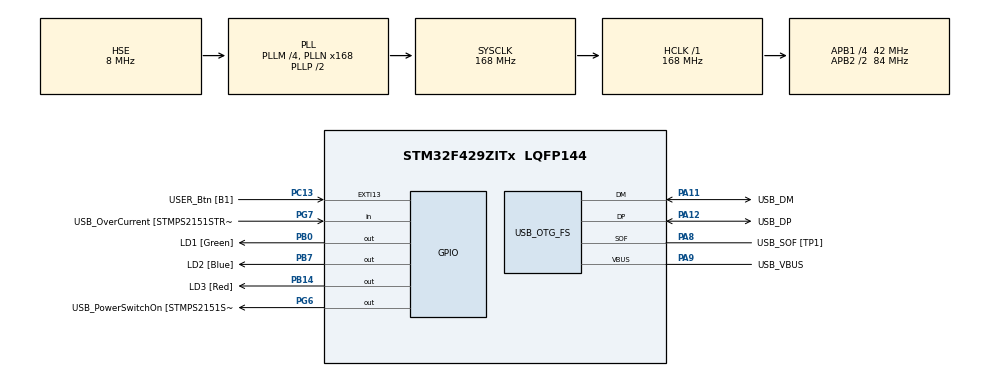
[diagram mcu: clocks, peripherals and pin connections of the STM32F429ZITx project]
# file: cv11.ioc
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Mcu.Family=STM32F4
Mcu.Name=STM32F429ZITx
Mcu.Package=LQFP144
NVIC.OTG_FS_IRQn=true\:0\:0\:false\:false\:true\:false\:true\:true
NVIC.PriorityGroup=NVIC_PRIORITYGROUP_4
PA1.GPIO_Label=RMII_REF_CLK [LAN8742A-CZ-TR_REFCLK0]
PA1.Signal=ETH_REF_CLK
PA10.GPIO_Label=USB_ID
PA10.Signal=USB_OTG_FS_ID
PA11.GPIO_Label=USB_DM
PA11.Mode=Device_Only
PA11.Signal=USB_OTG_FS_DM
PA12.GPIO_Label=USB_DP
PA12.Mode=Device_Only
PA12.Signal=USB_OTG_FS_DP
PA13.GPIO_Label=TMS
PA13.Mode=Serial_Wire
PA13.Signal=SYS_JTMS-SWDIO
PA14.GPIO_Label=TCK
PA14.Mode=Serial_Wire
PA14.Signal=SYS_JTCK-SWCLK
PA2.GPIO_Label=RMII_MDIO [LAN8742A-CZ-TR_MDIO]
PA2.Signal=ETH_MDIO
PA7.GPIO_Label=RMII_CRS_DV [LAN8742A-CZ-TR_CRS_DV]
PA7.Signal=ETH_CRS_DV
PA8.GPIO_Label=USB_SOF [TP1]
PA8.Mode=Activate_SOF_FS
PA8.Signal=USB_OTG_FS_SOF
PA9.GPIO_Label=USB_VBUS
PA9.Mode=Activate_VBUS
PA9.Signal=USB_OTG_FS_VBUS
PB0.GPIO_Label=LD1 [Green]
PB0.Signal=GPIO_Output
PB13.GPIO_Label=RMII_TXD1 [LAN8742A-CZ-TR_TXD1]
PB13.Signal=ETH_TXD1
PB14.GPIO_Label=LD3 [Red]
PB14.Signal=GPIO_Output
PB7.GPIO_Label=LD2 [Blue]
PB7.Signal=GPIO_Output
PC1.GPIO_Label=RMII_MDC [LAN8742A-CZ-TR_MDC]
PC1.Signal=ETH_MDC
PC13.GPIO_Label=USER_Btn [B1]
PC13.Signal=GPXTI13
PC14/OSC32_IN.Mode=LSE-External-Oscillator
PC14/OSC32_IN.Signal=RCC_OSC32_IN
PC15/OSC32_OUT.Mode=LSE-External-Oscillator
PC15/OSC32_OUT.Signal=RCC_OSC32_OUT
PC4.GPIO_Label=RMII_RXD0 [LAN8742A-CZ-TR_RXD0]
PC4.Signal=ETH_RXD0
PC5.GPIO_Label=RMII_RXD1 [LAN8742A-CZ-TR_RXD1]
PC5.Signal=ETH_RXD1
PD8.GPIO_Label=STLK_RX [STM32F103CBT6_PA3]
PD8.Signal=USART3_TX
PD9.GPIO_Label=STLK_TX [STM32F103CBT6_PA2]
PD9.Signal=USART3_RX
PG11.GPIO_Label=RMII_TX_EN [LAN8742A-CZ-TR_TXEN]
PG11.Signal=ETH_TX_EN
PG13.GPIO_Label=RMII_TXD0 [LAN8742A-CZ-TR_TXD0]
PG13.Signal=ETH_TXD0
PG6.GPIO_Label=USB_PowerSwitchOn [STMPS2151STR_EN]
PG6.Signal=GPIO_Output
PG7.GPIO_Label=USB_OverCurrent [STMPS2151STR_FAULT]
PG7.Signal=GPIO_Input
PH0/OSC_IN.GPIO_Label=MCO [STM32F103CBT6_PA8]
PH0/OSC_IN.Mode=HSE-External-Clock-Source
PH0/OSC_IN.Signal=RCC_OSC_IN
PH1/OSC_OUT.Mode=HSE-External-Clock-Source
PH1/OSC_OUT.Signal=RCC_OSC_OUT
ProjectManager.HeapSize=0x200
ProjectManager.StackSize=0x400
ProjectManager.TargetToolchain=STM32CubeIDE
RCC.48MHZClocksFreq_Value=48000000
RCC.AHBFreq_Value=168000000
RCC.APB1CLKDivider=RCC_HCLK_DIV4
RCC.APB1Freq_Value=42000000
RCC.APB1TimFreq_Value=84000000
RCC.APB2CLKDivider=RCC_HCLK_DIV2
RCC.APB2Freq_Value=84000000
RCC.APB2TimCLKDivider=2
RCC.APB2TimFreq_Value=168000000
RCC.CortexFreq_Value=168000000
RCC.HCLKFreq_Value=168000000
RCC.HSE_VALUE=8000000
RCC.HSI_VALUE=16000000
RCC.PLLM=4
RCC.PLLMUL=RCC_PLL_MUL9
RCC.PLLN=168
RCC.PLLQ=7
RCC.PRESCALERUSB=RCC_USBCLKSOURCE_PLL_DIV1_5
RCC.SYSCLKFreq_VALUE=168000000
RCC.SYSCLKSource=RCC_SYSCLKSOURCE_PLLCLK
RCC.SYSCLKSourceVirtual=RCC_SYSCLKSOURCE_PLLCLK
RCC.USBFreq_Value=48000000
RCC.VCOOutputFreq_Value=336000000
USB_DEVICE.CLASS_NAME_FS=HID
USB_DEVICE.VirtualMode-HID_FS=Hid
USB_DEVICE.VirtualModeFS=Hid_FS
USB_OTG_FS.VirtualMode=Device_Only
VP_USB_DEVICE_VS_USB_DEVICE_HID_FS.Mode=HID_FS
board=NUCLEO-F429ZI

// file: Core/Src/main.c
/* USER CODE BEGIN Header */
/**
 ******************************************************************************
 * @file           : main.c
 * @brief          : Main program body
 ******************************************************************************
 * @attention
 *
 * Copyright (c) 2022 STMicroelectronics.
 * All rights reserved.
 *
 * This software is licensed under terms that can be found in the LICENSE file
 * in the root directory of this software component.
 * If no LICENSE file comes with this software, it is provided AS-IS.
 *
 ******************************************************************************
 */
/* USER CODE END Header */
#include "main.h"
#include "usb_device.h"

/* USER CODE BEGIN Includes */
#include "usbd_hid.h"
#include  <math.h>
#include <stdbool.h>

/* USER CODE END Includes */

void SystemClock_Config(void);
static void MX_GPIO_Init(void);

/* USER CODE BEGIN 0 */
extern USBD_HandleTypeDef hUsbDeviceFS;

float x, y;

void step(int x, int y, bool btn) {
	uint8_t buff[4];
	if (btn) {
		buff[0] = 0x01; // stiskni leve tlacitko
	}
	else  {
		buff[0] = 0x00; // stiskni leve tlacitko
	}
	buff[1] = (int8_t)(x); // posun X +10
	buff[2] = (int8_t)(y); // posun Y -3
	buff[3] = 0; // bez scrollu
	USBD_HID_SendReport(&hUsbDeviceFS, buff, sizeof(buff));
	HAL_Delay(USBD_HID_GetPollingInterval(&hUsbDeviceFS));
}

void circle(int radius) {
	int16_t n = 360;
	for (int16_t i=0; i<n; i+=5) {
		x = radius * cos(i*2*3.14 / 360);
		y = radius * sin(i*2*3.14 / 360);
		step(x,y,1);
	}
	step(0, 0, 0);
	/*
	int sx = 30;
	int sy = -30;
	int dx = x - sx;
	int dy = y - sy;

	step(dx, dy, 1);
	sx += dx;
	sy += dy;
		*/

}

void halfcircle(int radius) {
	int16_t n = 270;
	for (int16_t i=90; i<n; i+=5) {
		x = radius * cos(i*2*3.14 / 360);
		y = radius * sin(i*2*3.14 / 360);
		step(x,y,1);
	}
	step(0, 0, 0);
}

/* USER CODE END 0 */

int main(void)
{

	/* MCU Configuration--------------------------------------------------------*/

	/* Reset of all peripherals, Initializes the Flash interface and the Systick. */
	HAL_Init();

	/* Configure the system clock */
	SystemClock_Config();

	/* Initialize all configured peripherals */
	MX_GPIO_Init();
	MX_USB_DEVICE_Init();

	/* Infinite loop */
	/* USER CODE BEGIN WHILE */
	while (1)
	{
		if (HAL_GPIO_ReadPin(USER_Btn_GPIO_Port, USER_Btn_Pin)==1) {
			//step(10, -3, 1);
			//step(0, 0, 0);

			circle(10);
			step(0, 0, 0);

			step(-40, 40, 0);
			circle(3);
			step(0, 0, 0);

			step(80, 0, 0);
			circle(3);
			step(0, 0, 0);

			step(-40, 0, 1);
			step(0, 20,1);
			step(0, 0, 0);

			step(20, 30, 1);
			halfcircle(5);
			step(0, 0, 0);
		}
		/*
	  if (HAL_GPIO_ReadPin(USER_Btn_GPIO_Port, USER_Btn_Pin)==0) {
		  step(0, 0, 0);
	  }
		 */
		//

		/* USER CODE END WHILE */

	}
}

void SystemClock_Config(void)
{
	RCC_OscInitTypeDef RCC_OscInitStruct = {0};
	RCC_ClkInitTypeDef RCC_ClkInitStruct = {0};

	/** Configure the main internal regulator output voltage
	 */
	__HAL_RCC_PWR_CLK_ENABLE();
	__HAL_PWR_VOLTAGESCALING_CONFIG(PWR_REGULATOR_VOLTAGE_SCALE1);

	/** Initializes the RCC Oscillators according to the specified parameters
	 * in the RCC_OscInitTypeDef structure.
	 */
	RCC_OscInitStruct.OscillatorType = RCC_OSCILLATORTYPE_HSE;
	RCC_OscInitStruct.HSEState = RCC_HSE_BYPASS;
	RCC_OscInitStruct.PLL.PLLState = RCC_PLL_ON;
	RCC_OscInitStruct.PLL.PLLSource = RCC_PLLSOURCE_HSE;
	RCC_OscInitStruct.PLL.PLLM = 4;
	RCC_OscInitStruct.PLL.PLLN = 168;
	RCC_OscInitStruct.PLL.PLLP = RCC_PLLP_DIV2;
	RCC_OscInitStruct.PLL.PLLQ = 7;
	if (HAL_RCC_OscConfig(&RCC_OscInitStruct) != HAL_OK)
	{
		Error_Handler();
	}

	/** Initializes the CPU, AHB and APB buses clocks
	 */
	RCC_ClkInitStruct.ClockType = RCC_CLOCKTYPE_HCLK|RCC_CLOCKTYPE_SYSCLK
			|RCC_CLOCKTYPE_PCLK1|RCC_CLOCKTYPE_PCLK2;
	RCC_ClkInitStruct.SYSCLKSource = RCC_SYSCLKSOURCE_PLLCLK;
	RCC_ClkInitStruct.AHBCLKDivider = RCC_SYSCLK_DIV1;
	RCC_ClkInitStruct.APB1CLKDivider = RCC_HCLK_DIV4;
	RCC_ClkInitStruct.APB2CLKDivider = RCC_HCLK_DIV2;

	if (HAL_RCC_ClockConfig(&RCC_ClkInitStruct, FLASH_LATENCY_5) != HAL_OK)
	{
		Error_Handler();
	}
}

static void MX_GPIO_Init(void)
{
	GPIO_InitTypeDef GPIO_InitStruct = {0};

	/* GPIO Ports Clock Enable */
	__HAL_RCC_GPIOC_CLK_ENABLE();
	__HAL_RCC_GPIOH_CLK_ENABLE();
	__HAL_RCC_GPIOA_CLK_ENABLE();
	__HAL_RCC_GPIOB_CLK_ENABLE();
	__HAL_RCC_GPIOD_CLK_ENABLE();
	__HAL_RCC_GPIOG_CLK_ENABLE();

	/*Configure GPIO pin Output Level */
	HAL_GPIO_WritePin(GPIOB, LD1_Pin|LD3_Pin|LD2_Pin, GPIO_PIN_RESET);

	/*Configure GPIO pin Output Level */
	HAL_GPIO_WritePin(USB_PowerSwitchOn_GPIO_Port, USB_PowerSwitchOn_Pin, GPIO_PIN_RESET);

	/*Configure GPIO pin : USER_Btn_Pin */
	GPIO_InitStruct.Pin = USER_Btn_Pin;
	GPIO_InitStruct.Mode = GPIO_MODE_IT_RISING;
	GPIO_InitStruct.Pull = GPIO_NOPULL;
	HAL_GPIO_Init(USER_Btn_GPIO_Port, &GPIO_InitStruct);

	/*Configure GPIO pins : RMII_MDC_Pin RMII_RXD0_Pin RMII_RXD1_Pin */
	GPIO_InitStruct.Pin = RMII_MDC_Pin|RMII_RXD0_Pin|RMII_RXD1_Pin;
	GPIO_InitStruct.Mode = GPIO_MODE_AF_PP;
	GPIO_InitStruct.Pull = GPIO_NOPULL;
	GPIO_InitStruct.Speed = GPIO_SPEED_FREQ_VERY_HIGH;
	GPIO_InitStruct.Alternate = GPIO_AF11_ETH;
	HAL_GPIO_Init(GPIOC, &GPIO_InitStruct);

	/*Configure GPIO pins : RMII_REF_CLK_Pin RMII_MDIO_Pin RMII_CRS_DV_Pin */
	GPIO_InitStruct.Pin = RMII_REF_CLK_Pin|RMII_MDIO_Pin|RMII_CRS_DV_Pin;
	GPIO_InitStruct.Mode = GPIO_MODE_AF_PP;
	GPIO_InitStruct.Pull = GPIO_NOPULL;
	GPIO_InitStruct.Speed = GPIO_SPEED_FREQ_VERY_HIGH;
	GPIO_InitStruct.Alternate = GPIO_AF11_ETH;
	HAL_GPIO_Init(GPIOA, &GPIO_InitStruct);

	/*Configure GPIO pins : LD1_Pin LD3_Pin LD2_Pin */
	GPIO_InitStruct.Pin = LD1_Pin|LD3_Pin|LD2_Pin;
	GPIO_InitStruct.Mode = GPIO_MODE_OUTPUT_PP;
	GPIO_InitStruct.Pull = GPIO_NOPULL;
	GPIO_InitStruct.Speed = GPIO_SPEED_FREQ_LOW;
	HAL_GPIO_Init(GPIOB, &GPIO_InitStruct);

	/*Configure GPIO pin : RMII_TXD1_Pin */
	GPIO_InitStruct.Pin = RMII_TXD1_Pin;
	GPIO_InitStruct.Mode = GPIO_MODE_AF_PP;
	GPIO_InitStruct.Pull = GPIO_NOPULL;
	GPIO_InitStruct.Speed = GPIO_SPEED_FREQ_VERY_HIGH;
	GPIO_InitStruct.Alternate = GPIO_AF11_ETH;
	HAL_GPIO_Init(RMII_TXD1_GPIO_Port, &GPIO_InitStruct);

	/*Configure GPIO pins : STLK_RX_Pin STLK_TX_Pin */
	GPIO_InitStruct.Pin = STLK_RX_Pin|STLK_TX_Pin;
	GPIO_InitStruct.Mode = GPIO_MODE_AF_PP;
	GPIO_InitStruct.Pull = GPIO_NOPULL;
	GPIO_InitStruct.Speed = GPIO_SPEED_FREQ_VERY_HIGH;
	GPIO_InitStruct.Alternate = GPIO_AF7_USART3;
	HAL_GPIO_Init(GPIOD, &GPIO_InitStruct);

	/*Configure GPIO pin : USB_PowerSwitchOn_Pin */
	GPIO_InitStruct.Pin = USB_PowerSwitchOn_Pin;
	GPIO_InitStruct.Mode = GPIO_MODE_OUTPUT_PP;
	GPIO_InitStruct.Pull = GPIO_NOPULL;
	GPIO_InitStruct.Speed = GPIO_SPEED_FREQ_LOW;
	HAL_GPIO_Init(USB_PowerSwitchOn_GPIO_Port, &GPIO_InitStruct);

	/*Configure GPIO pin : USB_OverCurrent_Pin */
	GPIO_InitStruct.Pin = USB_OverCurrent_Pin;
	GPIO_InitStruct.Mode = GPIO_MODE_INPUT;
	GPIO_InitStruct.Pull = GPIO_NOPULL;
	HAL_GPIO_Init(USB_OverCurrent_GPIO_Port, &GPIO_InitStruct);

	/*Configure GPIO pins : RMII_TX_EN_Pin RMII_TXD0_Pin */
	GPIO_InitStruct.Pin = RMII_TX_EN_Pin|RMII_TXD0_Pin;
	GPIO_InitStruct.Mode = GPIO_MODE_AF_PP;
	GPIO_InitStruct.Pull = GPIO_NOPULL;
	GPIO_InitStruct.Speed = GPIO_SPEED_FREQ_VERY_HIGH;
	GPIO_InitStruct.Alternate = GPIO_AF11_ETH;
	HAL_GPIO_Init(GPIOG, &GPIO_InitStruct);

}

void Error_Handler(void)
{
	__disable_irq();
	while (1)
	{
	}
}
